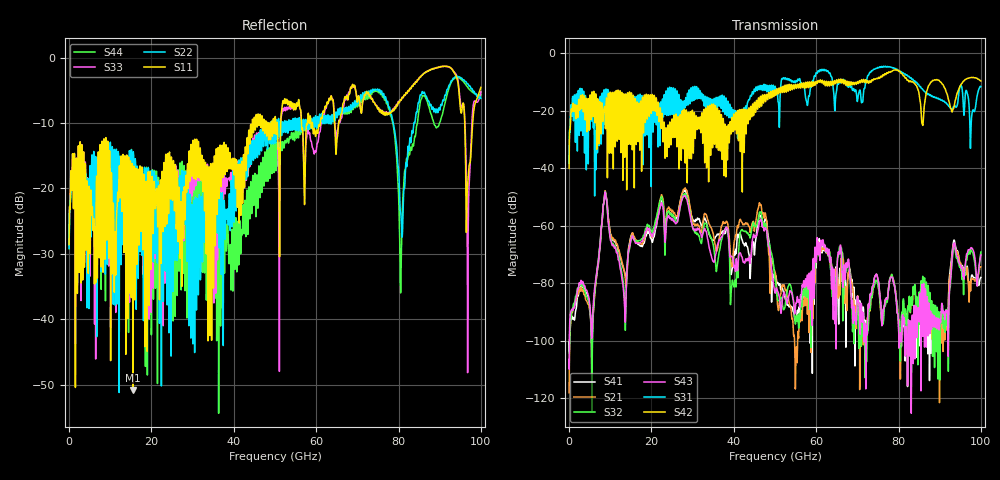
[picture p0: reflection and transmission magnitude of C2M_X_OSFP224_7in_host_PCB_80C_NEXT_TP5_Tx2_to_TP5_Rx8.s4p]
# GHz S RI R 45
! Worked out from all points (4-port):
!   4000 points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, 25 MHz to 100 GHz, reference 45 ohm
!   strongest paths, dB at 25 MHz, 25.02 GHz, 50.02 GHz, 75.03 GHz, 100 GHz:
!     S42: -40.1, -23.0, -12.9, -8.8, -9.7
!     S31: -38.4, -15.7, -11.5, -5.0, -11.6
!     S43: -106.4, -57.8, -83.4, -78.7, -70.2
!     S32: -104.5, -56.3, -79.0, -80.6, -69.1
!     S21: -118.1, -54.9, -76.0, -80.6, -74.3
!     S41: -100.4, -56.3, -77.7, -78.7, -78.0
!   lowest |S11| = -50.8 dB at 15.55 GHz (marker M1), VSWR 1.01, Z = 45.1 + j0.253 ohm
!   |S11| at or under -10 dB: start of sweep to 44.48 GHz; 59.1 GHz to 61.02 GHz (1.918 GHz wide, 3.19 % of centre); 96.08 GHz to 98 GHz (1.927 GHz wide, 1.99 % of centre) (the widest 3 of 20)
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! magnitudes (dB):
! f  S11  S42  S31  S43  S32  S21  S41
! 25 MHz  -28.6  -40.1  -38.4  -106.4  -104.5  -118.1  -100.4
! 6.275 GHz  -27.3  -24.2  -32.0  -80.9  -82.1  -83.1  -82.3
! 8.75 GHz  -25.8  -20.6  -24.8  -48.3  -48.1  -47.8  -48.0
! 13.3 GHz  -25.1  -14.2  -24.8  -83.6  -81.6  -75.1  -75.4
! 15.55 GHz  -50.8  -15.2  -20.4  -64.0  -64.0  -62.9  -63.1
! 80.55 GHz  -6.5  -7.0  -6.4  -97.2  -100.8  -104.2  -97.9
! 100 GHz  -4.6  -9.7  -11.6  -70.2  -69.1  -74.3  -78.0
